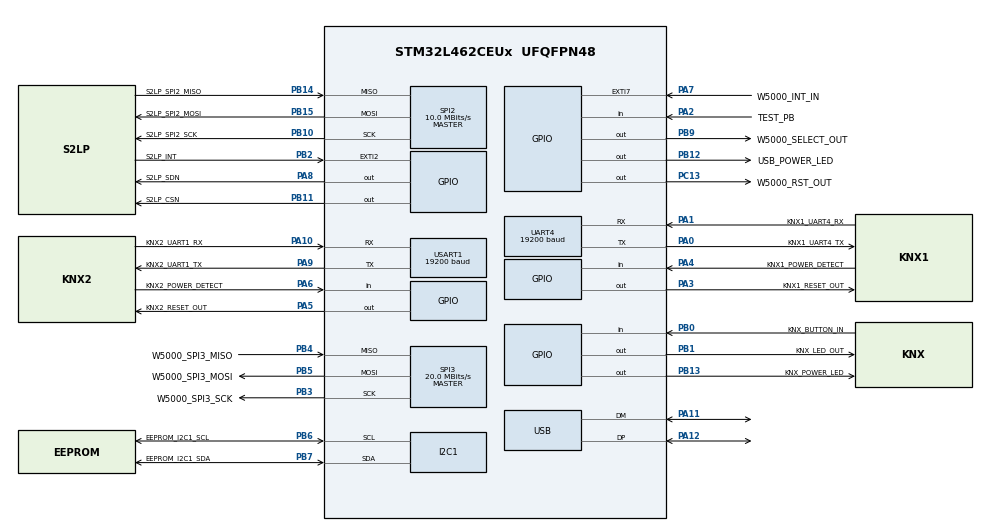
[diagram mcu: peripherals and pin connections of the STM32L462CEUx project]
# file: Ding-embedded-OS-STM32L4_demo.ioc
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AES.Data\ encryption\ types\ list=AESCBC
Dma.I2C1_RX.1.Direction=DMA_PERIPH_TO_MEMORY
Dma.I2C1_RX.1.Instance=DMA1_Channel7
Dma.I2C1_RX.1.MemDataAlignment=DMA_MDATAALIGN_BYTE
Dma.I2C1_RX.1.MemInc=DMA_MINC_ENABLE
Dma.I2C1_RX.1.Mode=DMA_NORMAL
Dma.I2C1_RX.1.PeriphDataAlignment=DMA_PDATAALIGN_BYTE
Dma.I2C1_RX.1.PeriphInc=DMA_PINC_DISABLE
Dma.I2C1_RX.1.Priority=DMA_PRIORITY_LOW
Dma.I2C1_TX.0.Direction=DMA_MEMORY_TO_PERIPH
Dma.I2C1_TX.0.Instance=DMA1_Channel6
Dma.I2C1_TX.0.MemDataAlignment=DMA_MDATAALIGN_BYTE
Dma.I2C1_TX.0.MemInc=DMA_MINC_ENABLE
Dma.I2C1_TX.0.Mode=DMA_NORMAL
Dma.I2C1_TX.0.PeriphDataAlignment=DMA_PDATAALIGN_BYTE
Dma.I2C1_TX.0.PeriphInc=DMA_PINC_DISABLE
Dma.I2C1_TX.0.Priority=DMA_PRIORITY_LOW
Dma.Request0=I2C1_TX
Dma.Request1=I2C1_RX
I2C1.Timing=0x10D19CE4
IWDG.Prescaler=IWDG_PRESCALER_32
Mcu.Family=STM32L4
Mcu.Name=STM32L462CEUx
Mcu.Package=UFQFPN48
NVIC.EXTI2_IRQn=true\:3\:0\:true\:false\:true\:true\:true\:true
NVIC.I2C1_EV_IRQn=true\:0\:0\:false\:false\:false\:true\:true\:true
NVIC.PriorityGroup=NVIC_PRIORITYGROUP_4
NVIC.TIM1_BRK_TIM15_IRQn=true\:2\:0\:true\:false\:true\:true\:true\:true
NVIC.TIM3_IRQn=true\:2\:0\:true\:false\:true\:true\:true\:true
NVIC.UART4_IRQn=true\:1\:0\:true\:false\:true\:true\:true\:true
NVIC.USART1_IRQn=true\:1\:0\:true\:false\:true\:true\:true\:true
NVIC.USB_IRQn=true\:0\:0\:false\:false\:true\:false\:true\:true
PA0.GPIO_Label=KNX1_UART4_TX
PA0.Mode=Asynchronous
PA0.Signal=UART4_TX
PA1.GPIO_Label=KNX1_UART4_RX
PA1.Mode=Asynchronous
PA1.Signal=UART4_RX
PA10.GPIO_Label=KNX2_UART1_RX
PA10.Mode=Asynchronous
PA10.Signal=USART1_RX
PA11.Mode=Device
PA11.Signal=USB_DM
PA12.Mode=Device
PA12.Signal=USB_DP
PA13\ (JTMS/SWDIO).Mode=Serial_Wire
PA13\ (JTMS/SWDIO).Signal=SYS_JTMS-SWDIO
PA14\ (JTCK/SWCLK).Mode=Serial_Wire
PA14\ (JTCK/SWCLK).Signal=SYS_JTCK-SWCLK
PA2.GPIO_Label=TEST_PB
PA2.Signal=GPIO_Input
PA3.GPIO_Label=KNX1_RESET_OUT
PA3.Signal=GPIO_Output
PA4.GPIO_Label=KNX1_POWER_DETECT
PA4.Signal=GPIO_Input
PA5.GPIO_Label=KNX2_RESET_OUT
PA5.Signal=GPIO_Output
PA6.GPIO_Label=KNX2_POWER_DETECT
PA6.Signal=GPIO_Input
PA7.GPIO_Label=W5000_INT_IN
PA7.Signal=GPXTI7
PA8.GPIO_Label=S2LP_SDN
PA8.Signal=GPIO_Output
PA9.GPIO_Label=KNX2_UART1_TX
PA9.Mode=Asynchronous
PA9.Signal=USART1_TX
PB0.GPIO_Label=KNX_BUTTON_IN
PB0.Signal=GPIO_Input
PB1.GPIO_Label=KNX_LED_OUT
PB1.Signal=GPIO_Output
PB10.GPIO_Label=S2LP_SPI2_SCK
PB10.Mode=Full_Duplex_Master
PB10.Signal=SPI2_SCK
PB11.GPIO_Label=S2LP_CSN
PB11.Signal=GPIO_Output
PB12.GPIO_Label=USB_POWER_LED
PB12.Signal=GPIO_Output
PB13.GPIO_Label=KNX_POWER_LED
PB13.Signal=GPIO_Output
PB14.GPIO_Label=S2LP_SPI2_MISO
PB14.Mode=Full_Duplex_Master
PB14.Signal=SPI2_MISO
PB15.GPIO_Label=S2LP_SPI2_MOSI
PB15.Mode=Full_Duplex_Master
PB15.Signal=SPI2_MOSI
PB2.GPIO_Label=S2LP_INT
PB2.GPIO_PuPd=GPIO_NOPULL
PB2.Signal=GPXTI2
PB3\ (JTDO/TRACESWO).GPIO_Label=W5000_SPI3_SCK
PB3\ (JTDO/TRACESWO).Mode=Full_Duplex_Master
PB3\ (JTDO/TRACESWO).Signal=SPI3_SCK
PB4\ (NJTRST).GPIO_Label=W5000_SPI3_MISO
PB4\ (NJTRST).Mode=Full_Duplex_Master
PB4\ (NJTRST).Signal=SPI3_MISO
PB5.GPIO_Label=W5000_SPI3_MOSI
PB5.Mode=Full_Duplex_Master
PB5.Signal=SPI3_MOSI
PB6.GPIO_Label=EEPROM_I2C1_SCL
PB6.Mode=I2C
PB6.Signal=I2C1_SCL
PB7.GPIO_Label=EEPROM_I2C1_SDA
PB7.Mode=I2C
PB7.Signal=I2C1_SDA
PB9.GPIO_Label=W5000_SELECT_OUT
PB9.Signal=GPIO_Output
PC13.GPIO_Label=W5000_RST_OUT
PC13.Signal=GPIO_Output
PC14-OSC32_IN\ (PC14).Mode=LSE-External-Oscillator
PC14-OSC32_IN\ (PC14).Signal=RCC_OSC32_IN
PC15-OSC32_OUT\ (PC15).Mode=LSE-External-Oscillator
PC15-OSC32_OUT\ (PC15).Signal=RCC_OSC32_OUT
PH0-OSC_IN\ (PH0).Mode=HSE-External-Oscillator
PH0-OSC_IN\ (PH0).Signal=RCC_OSC_IN
PH1-OSC_OUT\ (PH1).Mode=HSE-External-Oscillator
PH1-OSC_OUT\ (PH1).Signal=RCC_OSC_OUT
ProjectManager.HeapSize=0x200
ProjectManager.StackSize=0x400
ProjectManager.TargetToolchain=EWARM V8.32
RCC.ADCFreq_Value=40000000
RCC.AHBFreq_Value=80000000
RCC.APB1Freq_Value=80000000
RCC.APB1TimFreq_Value=80000000
RCC.APB2Freq_Value=80000000
RCC.APB2TimFreq_Value=80000000
RCC.CK48CLockSelection=RCC_USBCLKSOURCE_HSI48
RCC.CortexFreq_Value=80000000
RCC.FLatency-AdvancedSettings=FLASH_LATENCY_4
RCC.HCLKFreq_Value=80000000
RCC.HSE_VALUE=25000000
RCC.HSI48_VALUE=48000000
RCC.HSI_VALUE=16000000
RCC.MSI_VALUE=4000000
RCC.PLLM=5
RCC.PLLN=32
RCC.PLLSAI1N=16
RCC.PLLSAI1Q=RCC_PLLQ_DIV8
RCC.PLLSourceVirtual=RCC_PLLSOURCE_HSE
RCC.RTCClockSelection=RCC_RTCCLKSOURCE_LSE
RCC.SYSCLKFreq_VALUE=80000000
RCC.SYSCLKSource=RCC_SYSCLKSOURCE_PLLCLK
RCC.USBFreq_Value=48000000
RCC.VCOOutputFreq_Value=160000000
SPI2.BaudRatePrescaler=SPI_BAUDRATEPRESCALER_8
SPI2.CalculateBaudRate=10.0 MBits/s
SPI2.DataSize=SPI_DATASIZE_8BIT
SPI2.Direction=SPI_DIRECTION_2LINES
SPI2.Mode=SPI_MODE_MASTER
SPI2.VirtualType=VM_MASTER
SPI3.BaudRatePrescaler=SPI_BAUDRATEPRESCALER_4
SPI3.CalculateBaudRate=20.0 MBits/s
SPI3.DataSize=SPI_DATASIZE_8BIT
SPI3.Direction=SPI_DIRECTION_2LINES
SPI3.Mode=SPI_MODE_MASTER
SPI3.VirtualType=VM_MASTER
TIM15.Channel-Output\ Compare1\ No\ Output=TIM_CHANNEL_1
TIM15.Channel-Output\ Compare2\ No\ Output=TIM_CHANNEL_2
TIM15.Prescaler=7999
TIM3.Channel-Output\ Compare1\ No\ Output=TIM_CHANNEL_1
TIM3.Channel-Output\ Compare2\ No\ Output=TIM_CHANNEL_2
TIM3.Prescaler=7999
UART4.BaudRate=19200
UART4.Parity=PARITY_EVEN
UART4.WordLength=WORDLENGTH_9B
USART1.BaudRate=19200
USART1.Parity=PARITY_EVEN
USART1.VirtualMode-Asynchronous=VM_ASYNC
USART1.WordLength=WORDLENGTH_9B
USB_DEVICE.CLASS_NAME_FS=CUSTOM_HID
USB_DEVICE.MANUFACTURER_STRING=B.E.G 
USB_DEVICE.PID_CUSTOMHID_FS=0x0329
USB_DEVICE.PRODUCT_STRING_CUSTOMHID_FS=Knx USB
USB_DEVICE.USBD_CUSTOMHID_OUTREPORT_BUF_SIZE=64
USB_DEVICE.USBD_CUSTOM_HID_REPORT_DESC_SIZE=56
USB_DEVICE.VID=0x135e
USB_DEVICE.VirtualMode=CustomHid
USB_DEVICE.VirtualModeFS=Custom_Hid_FS
VP_AES_VS_AES.Mode=AES_Activate
VP_IWDG_VS_IWDG.Mode=IWDG_Activate
VP_RTC_VS_RTC_Activate.Mode=RTC_Enabled
VP_TIM15_VS_no_output1.Mode=Output Compare1 No Output
VP_TIM15_VS_no_output2.Mode=Output Compare2 No Output
VP_TIM3_VS_ClockSourceINT.Mode=Internal
VP_TIM3_VS_no_output1.Mode=Output Compare1 No Output
VP_TIM3_VS_no_output2.Mode=Output Compare2 No Output
VP_USB_DEVICE_VS_USB_DEVICE_CUSTOM_HID_FS.Mode=CUSTOM_HID_FS
board=custom

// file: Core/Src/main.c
/* USER CODE BEGIN Header */
/**
 ******************************************************************************
 * @file           : main.c
 * @brief          : Main program body
 ******************************************************************************
 * @attention
 *
 * Copyright (c) 2025 STMicroelectronics.
 * All rights reserved.
 *
 * This software is licensed under terms that can be found in the LICENSE file
 * in the root directory of this software component.
 * If no LICENSE file comes with this software, it is provided AS-IS.
 *
 ******************************************************************************
 */
/* USER CODE END Header */
#include "main.h"
#include "aes.h"
#include "dma.h"
#include "gpio.h"
#include "i2c.h"
#include "iwdg.h"
#include "rtc.h"
#include "spi.h"
#include "tim.h"
#include "usart.h"
#include "usb_device.h"

/* USER CODE BEGIN Includes */
#include "d_tick.h"
#include "app_ipc_test.h"
#include "app_msg_test.h"
#include "d_os.h"
#include "wdg_func.h"

#define OS_NON_PREEPTIVE 0
#define OS_UCOS 1
#define OS_RT_THREAD 2
#define OS_FREE_RTOS 3

#if OS_TYPE == OS_UCOS
#include "bsp.h"
extern void ucos_set_hook(void);
extern void EXTI2_IRQHandler(void);
extern void I2C1_EV_IRQHandler(void);
extern void USB_IRQHandler(void);
#endif

#if OS_TYPE == OS_RT_THREAD
extern void rt_thread_set_hook(void);
#endif

#include "osal.h"
/* USER CODE END Includes */

void SystemClock_Config(void);

/* USER CODE BEGIN 0 */
//-----------------------------------------------------------------------------------------------------------
static os_thread_t *TaskStartThread;

void App_TaskStart(void *p_arg)
{
  (void)p_arg;

  /*
    init D_OS and other app in preemptive os thread

    systick is not working only if we have started preemptive os like ucos, free rtos
 */
  DOS_Init();

  app_msg_test_start();

  app_pic_test_start();

  while (!os_thread_should_stop(TaskStartThread))
  {
    /* Task body, always written as an infinite loop.           */
    os_msleep(1000);

    Wdg_Clear();
  }

  OS_RETURN(TaskStartThread);
}
//-----------------------------------------------------------------------------------------------------------
void os_tick_set_hook(void)
{
#if OS_TYPE == OS_UCOS
  ucos_set_hook();
#endif

#if OS_TYPE == OS_RT_THREAD
  rt_thread_set_hook();
#endif
}
/* USER CODE END 0 */

int main(void)
{

  /* MCU Configuration--------------------------------------------------------*/

  /* Reset of all peripherals, Initializes the Flash interface and the Systick. */
  HAL_Init();

  /* USER CODE BEGIN Init */

#if OS_TYPE == OS_UCOS
  BSP_IntVectSet(BSP_INT_ID_EXTI2, EXTI2_IRQHandler);
  BSP_IntVectSet(BSP_INT_ID_I2C1_EV, I2C1_EV_IRQHandler);
  BSP_IntVectSet(BSP_INT_ID_OTG_FS, USB_IRQHandler);
#endif

  /* USER CODE END Init */

  /* Configure the system clock */
  SystemClock_Config();

  /* USER CODE BEGIN SysInit */
  SysTick_Config(SystemCoreClock / 1000); // system tick 1ms interrupt

  /* USER CODE END SysInit */

  /* Initialize all configured peripherals */
  MX_GPIO_Init();
  MX_DMA_Init();
  MX_TIM3_Init();
  MX_UART4_Init();
  MX_IWDG_Init();
  MX_SPI3_Init();
  MX_TIM15_Init();
  MX_I2C1_Init();
  MX_RTC_Init();
  MX_SPI2_Init();
  MX_USART1_UART_Init();
  MX_AES_Init();
  MX_USB_DEVICE_Init();
  /* USER CODE BEGIN 2 */

  os_init();
  TaskStartThread = os_thread_create("os_task", 3, 256, App_TaskStart, NULL);
  os_tick_set_hook();

  os_start(); // start first thread if using preemptive os, never return

  DOS_Init();
  DTick_Reset();

  app_msg_test_start();
  /* USER CODE END 2 */

  /* Infinite loop */
  while (1)
  {

    /* USER CODE BEGIN 3 */
    DOS_Run();

    if (DTick_IsTickOn())
    {
      DTick_ResetTickOn();

      DOS_RunOneTick();

      Wdg_Clear();
    }
  }
  /* USER CODE END 3 */
}

void SystemClock_Config(void)
{
  LL_FLASH_SetLatency(LL_FLASH_LATENCY_4);
  while (LL_FLASH_GetLatency() != LL_FLASH_LATENCY_4)
  {
  }
  LL_PWR_SetRegulVoltageScaling(LL_PWR_REGU_VOLTAGE_SCALE1);
  while (LL_PWR_IsActiveFlag_VOS() != 0)
  {
  }
  LL_RCC_HSE_Enable();

  /* Wait till HSE is ready */
  while (LL_RCC_HSE_IsReady() != 1)
  {
  }
  LL_RCC_HSI48_Enable();

  /* Wait till HSI48 is ready */
  while (LL_RCC_HSI48_IsReady() != 1)
  {
  }
  LL_RCC_LSI_Enable();

  /* Wait till LSI is ready */
  while (LL_RCC_LSI_IsReady() != 1)
  {
  }
  LL_PWR_EnableBkUpAccess();
  LL_RCC_LSE_SetDriveCapability(LL_RCC_LSEDRIVE_LOW);
  LL_RCC_LSE_Enable();

  /* Wait till LSE is ready */
  while (LL_RCC_LSE_IsReady() != 1)
  {
  }
  LL_RCC_PLL_ConfigDomain_SYS(LL_RCC_PLLSOURCE_HSE, LL_RCC_PLLM_DIV_5, 32, LL_RCC_PLLR_DIV_2);
  LL_RCC_PLL_EnableDomain_SYS();
  LL_RCC_PLL_Enable();

  /* Wait till PLL is ready */
  while (LL_RCC_PLL_IsReady() != 1)
  {
  }
  LL_RCC_SetSysClkSource(LL_RCC_SYS_CLKSOURCE_PLL);

  /* Wait till System clock is ready */
  while (LL_RCC_GetSysClkSource() != LL_RCC_SYS_CLKSOURCE_STATUS_PLL)
  {
  }
  LL_RCC_SetAHBPrescaler(LL_RCC_SYSCLK_DIV_1);
  LL_RCC_SetAPB1Prescaler(LL_RCC_APB1_DIV_1);
  LL_RCC_SetAPB2Prescaler(LL_RCC_APB2_DIV_1);
  LL_SetSystemCoreClock(80000000);

  /* Update the time base */
  if (HAL_InitTick(TICK_INT_PRIORITY) != HAL_OK)
  {
    Error_Handler();
  }
}

void Error_Handler(void)
{
  __disable_irq();
  while (1)
  {
  }
}
